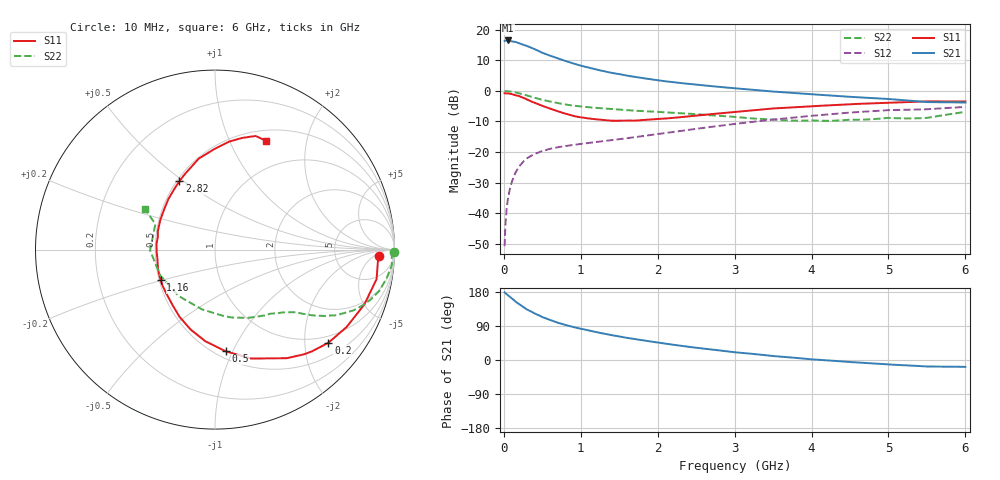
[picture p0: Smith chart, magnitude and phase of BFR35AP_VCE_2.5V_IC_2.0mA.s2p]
! Infineon Technologies  Discrete & RF Semiconductors
! BFR35AP
! VCE =  2.5 V,  IC =  2.0 mA
! Common Emitter S-Parameters:  Nov 2015
# GHz  S  MA  R  50
!  f  S11  S21  S12  S22
! GHz  MAG  ANG  MAG  ANG  MAG  ANG  MAG  ANG
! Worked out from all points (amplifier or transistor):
!   210 points, 10 MHz to 6 GHz, reference 50 ohm
!   highest |S21| = 16.5 dB at 50 MHz (marker M1)
!   |S21| within 3 dB of that: start of sweep to 414.5 MHz
!   unconditionally stable (mu >= 1): 1.153 GHz to 4.255 GHz; 5.162 GHz to end of sweep
!   at 185 MHz: K = 0.22, MSG = 20.5 dB, |S12| = -25.3 dB
!   at 1.52 GHz: K = 1.13, MAG = 8.3 dB, |S12| = -15.8 dB
!   at 6 GHz: K = 1.01, MAG = 0.3 dB, |S12| = -5.2 dB
!   S11 on the Smith chart (normalised r, x): 10 MHz: 19, -8; 200 MHz: 0.82, -2.56; 500 MHz: 0.56, -0.94; 1.16 GHz: 0.51, -0.20; 2.82 GHz: 0.52, +0.48; 6 GHz: 0.63, +1.38
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0.01  0.9145 -2.1  6.522 178.6  0.0029 88.4  0.9976 -0.9
0.015  0.9121 -3.1  6.559 177.5  0.0046 89.2  0.9915 -1.4
0.025  0.9101 -5.1  6.602 175.6  0.0079 87.4  0.986 -2.4
0.05  0.9152 -10.3  6.646 171.4  0.0162 83.0  0.9894 -4.9
0.095  0.8881 -19.2  6.446 164.2  0.0298 78.4  0.9717 -8.9
0.15  0.8505 -30.5  6.301 154.3  0.0455 72.4  0.9448 -14.0
0.2  0.8176 -39.4  6.002 147.2  0.0582 67.7  0.9121 -17.7
0.3  0.7255 -56.5  5.407 133.4  0.079 59.5  0.841 -23.8
0.4  0.6393 -71.7  4.802 122.9  0.0932 53.8  0.7702 -28.3
0.5  0.5702 -83.9  4.184 113.3  0.1038 49.4  0.7117 -31.3
0.6  0.5139 -95.9  3.754 105.5  0.1127 46.7  0.668 -33.4
0.7  0.4654 -107.0  3.401 98.5  0.1198 44.7  0.6307 -35.1
0.8  0.4239 -117.7  3.069 92.4  0.1253 43.5  0.5986 -36.5
1.02  0.3654 -137.9  2.536 81.4  0.1365 42.6  0.5517 -39.2
1.16  0.3466 -150.7  2.297 75.2  0.1438 42.4  0.5318 -41.1
1.6  0.3276 174.5  1.77 58.4  0.168 44.1  0.4838 -47.2
2.02  0.3481 150.2  1.474 45.5  0.1981 45.1  0.4515 -54.9
2.82  0.43 117.4  1.153 24.8  0.2693 43.3  0.3904 -75.7
3.1  0.4627 109.4  1.074 18.7  0.2977 41.2  0.3651 -85.5
4.1  0.5682 88.8  0.862 0.5  0.4002 30.8  0.3245 -133.4
5.1  0.6458 75.1  0.719 -12.8  0.486 16.5  0.3569 175.9
6  0.6694 65.0  0.644 -18.1  0.5465 5.6  0.4534 149.7
